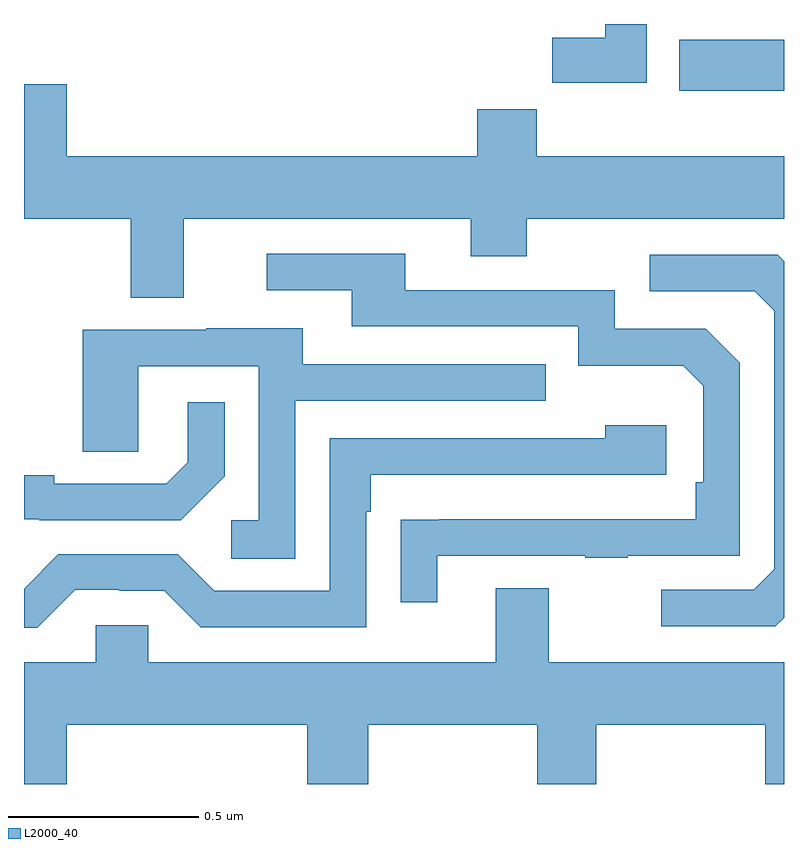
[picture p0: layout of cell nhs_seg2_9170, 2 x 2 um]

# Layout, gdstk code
import gdstk
lib = gdstk.Library(unit=1e-6, precision=1e-09)
def R(c, l, rs):  # rectangles x0, y0, x1, y1
    for r in rs: c.add(gdstk.rectangle(r[:2], r[2:], *l))
def P(c, l, *ps):  # polygons
    for p in ps: c.add(gdstk.Polygon(p, *l))
L2000_40 = (2000, 40)

nhs_seg2_9170 = lib.new_cell('nhs_seg2_9170')
R(nhs_seg2_9170, L2000_40, [(226.724,662.624,227,662.758)])
P(nhs_seg2_9170, L2000_40, [(226.639,662.8),(226.529,662.8),(226.529,662.764),(226.39,662.764),(226.39,662.646),(226.639,662.646)],
  [(225.421,662.288),(226.175,662.288),(226.175,662.189),(226.323,662.189),(226.323,662.288),(227,662.288),(227,662.452),(226.349,662.452),(226.349,662.576),(226.193,662.576),(226.193,662.452),(225.112,662.452),(225.112,662.641),(225,662.641),(225,662.288),(225.281,662.288),(225.281,662.08),(225.421,662.08)],
  [(226.087,661.401),(226.477,661.401),(226.477,661.396),(226.589,661.396),(226.589,661.401),(226.884,661.401),(226.884,661.908),(226.794,661.998),(226.554,661.998),(226.554,662.1),(226.003,662.1),(226.003,662.196),(225.639,662.196),(225.639,662.1),(225.863,662.1),(225.863,662.004),(226.458,662.004),(226.458,661.901),(226.735,661.901),(226.788,661.848),(226.788,661.594),(226.768,661.594),(226.768,661.497),(226.093,661.497),(226.093,661.496),(225.991,661.496),(225.991,661.278),(226.087,661.278)],
  [(227,661.238),(227,662.176),(226.983,662.193),(226.647,662.193),(226.647,662.097),(226.923,662.097),(226.974,662.046),(226.974,661.365),(226.92,661.311),(226.677,661.311),(226.677,661.215),(226.977,661.215)],
  [(225.714,661.809),(226.373,661.809),(226.373,661.905),(225.733,661.905),(225.733,661.999),(225.479,661.999),(225.479,661.995),(225.155,661.995),(225.155,661.675),(225.3,661.675),(225.3,661.899),(225.618,661.899),(225.618,661.494),(225.546,661.494),(225.546,661.393),(225.714,661.393)],
  [(225.528,661.61),(225.528,661.804),(225.431,661.804),(225.431,661.647),(225.374,661.59),(225.079,661.59),(225.079,661.613),(225,661.613),(225,661.497),(225.04,661.497),(225.04,661.494),(225.412,661.494)],
  [(225.135,661.311),(225.251,661.311),(225.251,661.308),(225.369,661.308),(225.465,661.212),(225.9,661.212),(225.9,661.517),(225.913,661.517),(225.913,661.614),(226.69,661.614),(226.69,661.744),(226.529,661.744),(226.529,661.71),(225.804,661.71),(225.804,661.308),(225.501,661.308),(225.405,661.404),(225.09,661.404),(225,661.314),(225,661.211),(225.035,661.211)],
  [(225.112,660.956),(225.746,660.956),(225.746,660.8),(225.906,660.8),(225.906,660.956),(226.351,660.956),(226.351,660.8),(226.506,660.8),(226.506,660.956),(226.951,660.956),(226.951,660.8),(227,660.8),(227,661.12),(226.381,661.12),(226.381,661.315),(226.241,661.315),(226.241,661.12),(225.327,661.12),(225.327,661.218),(225.189,661.218),(225.189,661.12),(225,661.12),(225,660.8),(225.112,660.8)])

lib.write_gds('nhs_seg2_9170.gds')
